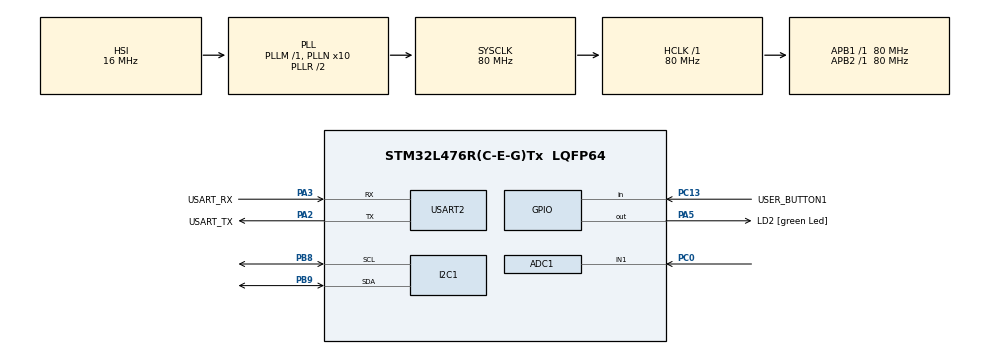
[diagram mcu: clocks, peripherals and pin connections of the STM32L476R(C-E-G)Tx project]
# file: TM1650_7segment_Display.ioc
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ADC1.Channel-0\#ChannelRegularConversion=ADC_CHANNEL_1
ADC1.ClockPrescaler=ADC_CLOCK_ASYNC_DIV1
ADC1.ContinuousConvMode=ENABLE
ADC1.DMAContinuousRequests=DISABLE
ADC1.NbrOfConversion=1
ADC1.NbrOfConversionFlag=1
ADC1.OffsetNumber-0\#ChannelRegularConversion=ADC_OFFSET_NONE
ADC1.Overrun=ADC_OVR_DATA_OVERWRITTEN
ADC1.OversamplingMode=ENABLE
ADC1.Rank-0\#ChannelRegularConversion=1
ADC1.Ratio=ADC_OVERSAMPLING_RATIO_256
ADC1.Resolution=ADC_RESOLUTION_12B
ADC1.RightBitShift=ADC_RIGHTBITSHIFT_8
ADC1.SamplingTime-0\#ChannelRegularConversion=ADC_SAMPLETIME_640CYCLES_5
ADC1.master=1
FREERTOS.Tasks01=LED_task,24,128,LED_task_init,Default,NULL,Dynamic,NULL,NULL;TM1650_task,24,512,TM1650_task_init,Default,NULL,Dynamic,NULL,NULL
I2C1.Timing=0x10D19CE4
Mcu.Family=STM32L4
Mcu.Name=STM32L476R(C-E-G)Tx
Mcu.Package=LQFP64
NVIC.ADC1_2_IRQn=true\:5\:0\:true\:false\:true\:true\:true\:true\:true
NVIC.PriorityGroup=NVIC_PRIORITYGROUP_4
NVIC.TIM6_DAC_IRQn=true\:15\:0\:false\:false\:true\:false\:false\:true\:true
NVIC.TimeBase=TIM6_DAC_IRQn
NVIC.TimeBaseIP=TIM6
NVIC.USART2_IRQn=true\:5\:0\:true\:false\:true\:true\:true\:true\:true
PA13\ (JTMS-SWDIO).GPIO_Label=TMS
PA13\ (JTMS-SWDIO).Mode=Serial_Wire
PA13\ (JTMS-SWDIO).Signal=SYS_JTMS-SWDIO
PA14\ (JTCK-SWCLK).GPIO_Label=TCK
PA14\ (JTCK-SWCLK).Mode=Serial_Wire
PA14\ (JTCK-SWCLK).Signal=SYS_JTCK-SWCLK
PA2.GPIO_Label=USART_TX
PA2.GPIO_Mode=GPIO_MODE_AF_PP
PA2.GPIO_PuPd=GPIO_NOPULL
PA2.GPIO_Speed=GPIO_SPEED_FREQ_VERY_HIGH
PA2.Mode=Asynchronous
PA2.Signal=USART2_TX
PA3.GPIO_Label=USART_RX
PA3.GPIO_Mode=GPIO_MODE_AF_PP
PA3.GPIO_PuPd=GPIO_NOPULL
PA3.GPIO_Speed=GPIO_SPEED_FREQ_VERY_HIGH
PA3.Mode=Asynchronous
PA3.Signal=USART2_RX
PA5.GPIO_Label=LD2 [green Led]
PA5.GPIO_ModeDefaultOutputPP=GPIO_MODE_OUTPUT_PP
PA5.GPIO_PuPd=GPIO_NOPULL
PA5.GPIO_Speed=GPIO_SPEED_FREQ_LOW
PA5.Signal=GPIO_Output
PB3\ (JTDO-TRACESWO).GPIO_Label=SWO
PB3\ (JTDO-TRACESWO).Signal=SYS_JTDO-SWO
PB8.Mode=I2C
PB8.Signal=I2C1_SCL
PB9.Mode=I2C
PB9.Signal=I2C1_SDA
PC0.Signal=ADCx_IN1
PC13.GPIO_Label=USER_BUTTON1
PC13.GPIO_PuPd=GPIO_PULLUP
PC13.Signal=GPIO_Input
PC14-OSC32_IN\ (PC14).Mode=LSE-External-Oscillator
PC14-OSC32_IN\ (PC14).Signal=RCC_OSC32_IN
PC15-OSC32_OUT\ (PC15).Mode=LSE-External-Oscillator
PC15-OSC32_OUT\ (PC15).Signal=RCC_OSC32_OUT
PH0-OSC_IN\ (PH0).Signal=RCC_OSC_IN
PH1-OSC_OUT\ (PH1).Signal=RCC_OSC_OUT
ProjectManager.HeapSize=0x200
ProjectManager.StackSize=0x400
ProjectManager.TargetToolchain=STM32CubeIDE
RCC.ADCFreq_Value=64000000
RCC.AHBFreq_Value=80000000
RCC.APB1Freq_Value=80000000
RCC.APB1TimFreq_Value=80000000
RCC.APB2Freq_Value=80000000
RCC.APB2TimFreq_Value=80000000
RCC.CortexFreq_Value=80000000
RCC.HCLKFreq_Value=80000000
RCC.HSE_VALUE=8000000
RCC.HSI_VALUE=16000000
RCC.MSI_VALUE=4000000
RCC.PLLN=10
RCC.PLLSourceVirtual=RCC_PLLSOURCE_HSI
RCC.PREFETCH_ENABLE=1
RCC.SYSCLKFreq_VALUE=80000000
RCC.SYSCLKSource=RCC_SYSCLKSOURCE_PLLCLK
RCC.USBFreq_Value=64000000
RCC.VCOOutputFreq_Value=160000000
SH.ADCx_IN1.0=ADC1_IN1,IN1-Single-Ended
USART2.VirtualMode-Asynchronous=VM_ASYNC
VP_FREERTOS_VS_CMSIS_V2.Mode=CMSIS_V2
VP_SYS_VS_tim6.Mode=TIM6
board=NUCLEO-L476RG

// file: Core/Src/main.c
/* USER CODE BEGIN Header */
/**
  ******************************************************************************
  * @file           : main.c
  * @brief          : Main program body
  ******************************************************************************
  * @attention
  *
  * Copyright (c) 2025 STMicroelectronics.
  * All rights reserved.
  *
  * This software is licensed under terms that can be found in the LICENSE file
  * in the root directory of this software component.
  * If no LICENSE file comes with this software, it is provided AS-IS.
  *
  ******************************************************************************
  */
/* USER CODE END Header */
#include "main.h"
#include "cmsis_os.h"
#include "adc.h"
#include "i2c.h"
#include "usart.h"
#include "gpio.h"

void SystemClock_Config(void);
void MX_FREERTOS_Init(void);

int main(void)
{

  /* MCU Configuration--------------------------------------------------------*/

  /* Reset of all peripherals, Initializes the Flash interface and the Systick. */
  HAL_Init();

  /* Configure the system clock */
  SystemClock_Config();

  /* Initialize all configured peripherals */
  MX_GPIO_Init();
  MX_USART2_UART_Init();
  MX_I2C1_Init();
  MX_ADC1_Init();

  /* Init scheduler */
  osKernelInitialize();  /* Call init function for freertos objects (in cmsis_os2.c) */
  MX_FREERTOS_Init();

  /* Start scheduler */
  osKernelStart();

  /* We should never get here as control is now taken by the scheduler */

  /* Infinite loop */
  while (1)
  {

  }
}

void SystemClock_Config(void)
{
  RCC_OscInitTypeDef RCC_OscInitStruct = {0};
  RCC_ClkInitTypeDef RCC_ClkInitStruct = {0};

  /** Configure the main internal regulator output voltage
  */
  if (HAL_PWREx_ControlVoltageScaling(PWR_REGULATOR_VOLTAGE_SCALE1) != HAL_OK)
  {
    Error_Handler();
  }

  /** Initializes the RCC Oscillators according to the specified parameters
  * in the RCC_OscInitTypeDef structure.
  */
  RCC_OscInitStruct.OscillatorType = RCC_OSCILLATORTYPE_HSI;
  RCC_OscInitStruct.HSIState = RCC_HSI_ON;
  RCC_OscInitStruct.HSICalibrationValue = RCC_HSICALIBRATION_DEFAULT;
  RCC_OscInitStruct.PLL.PLLState = RCC_PLL_ON;
  RCC_OscInitStruct.PLL.PLLSource = RCC_PLLSOURCE_HSI;
  RCC_OscInitStruct.PLL.PLLM = 1;
  RCC_OscInitStruct.PLL.PLLN = 10;
  RCC_OscInitStruct.PLL.PLLP = RCC_PLLP_DIV7;
  RCC_OscInitStruct.PLL.PLLQ = RCC_PLLQ_DIV2;
  RCC_OscInitStruct.PLL.PLLR = RCC_PLLR_DIV2;
  if (HAL_RCC_OscConfig(&RCC_OscInitStruct) != HAL_OK)
  {
    Error_Handler();
  }

  /** Initializes the CPU, AHB and APB buses clocks
  */
  RCC_ClkInitStruct.ClockType = RCC_CLOCKTYPE_HCLK|RCC_CLOCKTYPE_SYSCLK
                              |RCC_CLOCKTYPE_PCLK1|RCC_CLOCKTYPE_PCLK2;
  RCC_ClkInitStruct.SYSCLKSource = RCC_SYSCLKSOURCE_PLLCLK;
  RCC_ClkInitStruct.AHBCLKDivider = RCC_SYSCLK_DIV1;
  RCC_ClkInitStruct.APB1CLKDivider = RCC_HCLK_DIV1;
  RCC_ClkInitStruct.APB2CLKDivider = RCC_HCLK_DIV1;

  if (HAL_RCC_ClockConfig(&RCC_ClkInitStruct, FLASH_LATENCY_4) != HAL_OK)
  {
    Error_Handler();
  }
}

void HAL_TIM_PeriodElapsedCallback(TIM_HandleTypeDef *htim)
{
  if (htim->Instance == TIM6)
  {
    HAL_IncTick();
  }
}

void Error_Handler(void)
{
  __disable_irq();
  while (1)
  {
  }
}

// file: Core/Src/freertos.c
/* USER CODE BEGIN Header */
/**
  ******************************************************************************
  * File Name          : freertos.c
  * Description        : Code for freertos applications
  ******************************************************************************
  * @attention
  *
  * Copyright (c) 2026 STMicroelectronics.
  * All rights reserved.
  *
  * This software is licensed under terms that can be found in the LICENSE file
  * in the root directory of this software component.
  * If no LICENSE file comes with this software, it is provided AS-IS.
  *
  ******************************************************************************
  */
/* USER CODE END Header */

#include "FreeRTOS.h"
#include "task.h"
#include "main.h"
#include "cmsis_os.h"

/* USER CODE BEGIN Includes */

//// Peripherals
#include "gpio.h"
#include "adc.h"
#include "i2c.h"
#include "usart.h"

#include <stdio.h>

//////  TM1650 library
#include "TM1650.h"

/* USER CODE END Includes */

/* USER CODE BEGIN Variables */
	TM1650_HandleTypeDef htm1;

/* USER CODE END Variables */
/* Definitions for LED_task */
osThreadId_t LED_taskHandle;
const osThreadAttr_t LED_task_attributes = {
  .name = "LED_task",
  .stack_size = 128 * 4,
  .priority = (osPriority_t) osPriorityNormal,
};
/* Definitions for TM1650_task */
osThreadId_t TM1650_taskHandle;
const osThreadAttr_t TM1650_task_attributes = {
  .name = "TM1650_task",
  .stack_size = 512 * 4,
  .priority = (osPriority_t) osPriorityNormal,
};

/* USER CODE BEGIN FunctionPrototypes */

int __io_putchar(int ch); /// printf

/* USER CODE END FunctionPrototypes */

void LED_task_init(void *argument);
void TM1650_task_init(void *argument);

void MX_FREERTOS_Init(void); /* (MISRA C 2004 rule 8.1) */

void MX_FREERTOS_Init(void) {

  /* Create the thread(s) */
  /* creation of LED_task */
  LED_taskHandle = osThreadNew(LED_task_init, NULL, &LED_task_attributes);

  /* creation of TM1650_task */
  TM1650_taskHandle = osThreadNew(TM1650_task_init, NULL, &TM1650_task_attributes);

}

void LED_task_init(void *argument)
{
  /* USER CODE BEGIN LED_task_init */
  /* Infinite loop */
  for(;;)
  {

	HAL_GPIO_TogglePin(LD2_GPIO_Port, LD2_Pin);
	osDelay(500);

  }
  /* USER CODE END LED_task_init */
}

void TM1650_task_init(void *argument)
{
  /* USER CODE BEGIN TM1650_task_init */

	//////////////// ADC //////////
	uint32_t ADC_value=0;

	HAL_ADCEx_Calibration_Start(&hadc1, ADC_SINGLE_ENDED);
	HAL_ADC_Start(&hadc1);

	////////////// Initialize TM1650 ///////////////

	////// DEMO - INIT
	//range values :  0 , 1 ,2 , 3 , 4
	/// RANGE_0, - positive integers in the range(0 , 9999)
	/// RANGE_1 - integers in the range(-999 , 999)
	/// RANGE_2, - positive and negative float numbers  (-99.9 , 99.9)
	/// RANGE_3, - positive and negative float numbers  (-9.99 , 9.99)
	// 	RANGE_4, - positive float numbers (0.0 , 999.9)

	TM1650_Init(&htm1, &hi2c1, 4, RANGE_0, ZEROS); /// RAW 12 bit ADC values are
												//// between 0 and 4095, so the RANGE0 is suitable

  /* Infinite loop */
  for(;;)
  {

	ADC_value = HAL_ADC_GetValue(&hadc1);
	float ADC_value_float = ((float)ADC_value);

	TM1650_show(&htm1, ADC_value_float);

	printf("Number: %.2f\r\n", ADC_value_float);
	osDelay(200);

  }
  /* USER CODE END TM1650_task_init */
}

/* USER CODE BEGIN Application */
int __io_putchar(int ch)
{
  if (ch == '\n') {
    __io_putchar('\r');
  }
  HAL_UART_Transmit(&huart2, (uint8_t*)&ch, 1, HAL_MAX_DELAY);
  return 1;
}
/* USER CODE END Application */
